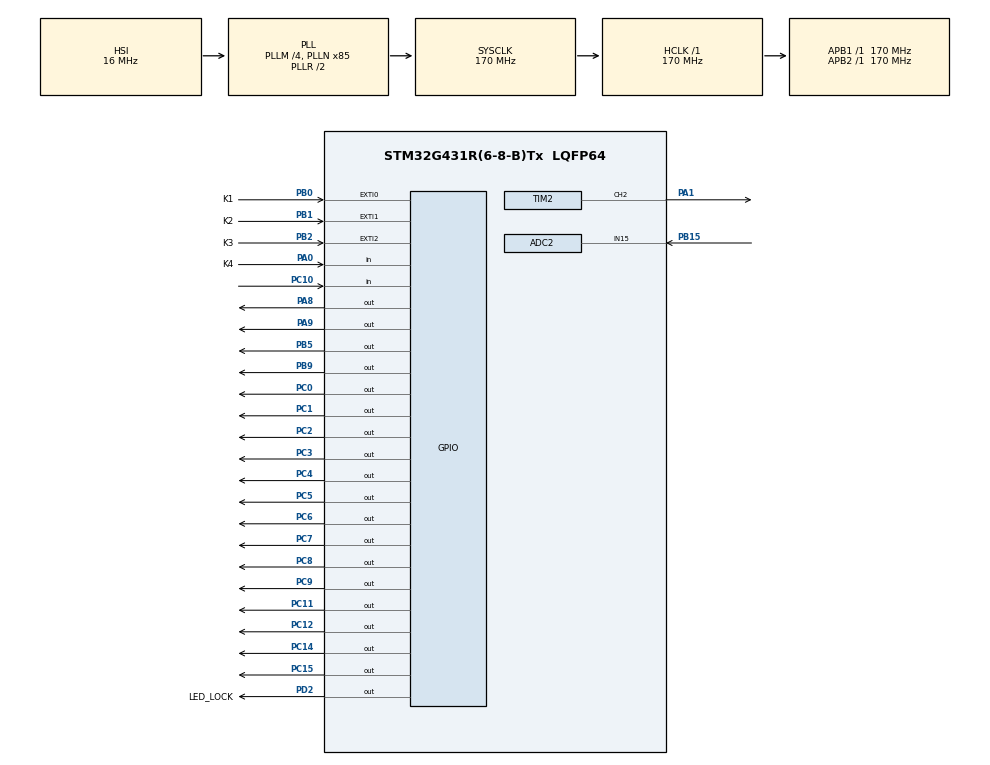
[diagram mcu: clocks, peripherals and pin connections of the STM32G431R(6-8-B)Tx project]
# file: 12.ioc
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ADC2.Channel-0\#ChannelRegularConversion=ADC_CHANNEL_15
ADC2.NbrOfConversionFlag=1
ADC2.OffsetNumber-0\#ChannelRegularConversion=ADC_OFFSET_NONE
ADC2.Rank-0\#ChannelRegularConversion=1
ADC2.SamplingTime-0\#ChannelRegularConversion=ADC_SAMPLETIME_2CYCLES_5
Mcu.Family=STM32G4
Mcu.Name=STM32G431R(6-8-B)Tx
Mcu.Package=LQFP64
NVIC.EXTI0_IRQn=true\:1\:0\:true\:false\:true\:true\:true
NVIC.EXTI1_IRQn=true\:2\:0\:true\:false\:true\:true\:true
NVIC.EXTI2_IRQn=true\:3\:0\:true\:false\:true\:true\:true
NVIC.PriorityGroup=NVIC_PRIORITYGROUP_4
PA0.GPIO_Label=K4
PA0.Signal=GPIO_Input
PA1.Signal=S_TIM2_CH2
PA8.Signal=GPIO_Output
PA9.Signal=GPIO_Output
PB0.GPIO_Label=K1
PB0.Signal=GPXTI0
PB1.GPIO_Label=K2
PB1.Signal=GPXTI1
PB15.Mode=IN15-Single-Ended
PB15.Signal=ADC2_IN15
PB2.GPIO_Label=K3
PB2.Signal=GPXTI2
PB5.Signal=GPIO_Output
PB9.Signal=GPIO_Output
PC0.Signal=GPIO_Output
PC1.Signal=GPIO_Output
PC10.Signal=GPIO_Input
PC11.Signal=GPIO_Output
PC12.Signal=GPIO_Output
PC14-OSC32_IN.Signal=GPIO_Output
PC15-OSC32_OUT.Signal=GPIO_Output
PC2.Signal=GPIO_Output
PC3.Signal=GPIO_Output
PC4.Signal=GPIO_Output
PC5.Signal=GPIO_Output
PC6.Signal=GPIO_Output
PC7.Signal=GPIO_Output
PC8.Signal=GPIO_Output
PC9.Signal=GPIO_Output
PD2.GPIO_Label=LED_LOCK
PD2.Signal=GPIO_Output
PF0-OSC_IN.Mode=HSE-External-Oscillator
PF0-OSC_IN.Signal=RCC_OSC_IN
PF1-OSC_OUT.Mode=HSE-External-Oscillator
PF1-OSC_OUT.Signal=RCC_OSC_OUT
ProjectManager.HeapSize=0x200
ProjectManager.StackSize=0x400
ProjectManager.TargetToolchain=MDK-ARM V5
RCC.ADC12Freq_Value=170000000
RCC.AHBFreq_Value=170000000
RCC.APB1Freq_Value=170000000
RCC.APB1TimFreq_Value=170000000
RCC.APB2Freq_Value=170000000
RCC.APB2TimFreq_Value=170000000
RCC.CortexFreq_Value=170000000
RCC.EXTERNAL_CLOCK_VALUE=12288000
RCC.HCLKFreq_Value=170000000
RCC.HSE_VALUE=8000000
RCC.HSI48_VALUE=48000000
RCC.HSI_VALUE=16000000
RCC.LSE_VALUE=32768
RCC.PLLM=RCC_PLLM_DIV4
RCC.PLLN=85
RCC.SYSCLKFreq_VALUE=170000000
RCC.SYSCLKSource=RCC_SYSCLKSOURCE_PLLCLK
RCC.USBFreq_Value=170000000
RCC.VCOOutputFreq_Value=340000000
SH.S_TIM2_CH2.0=TIM2_CH2,PWM Generation2 CH2
TIM2.AutoReloadPreload=TIM_AUTORELOAD_PRELOAD_ENABLE
TIM2.Channel-PWM\ Generation2\ CH2=TIM_CHANNEL_2
TIM2.PeriodNoDither=9999
TIM2.Prescaler=169
TIM2.PulseNoDither_2=5000
VP_SYS_VS_DBSignals.Mode=DisableDeadBatterySignals
VP_TIM2_VS_ClockSourceINT.Mode=Internal
board=custom

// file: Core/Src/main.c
/* USER CODE BEGIN Header */
/**
  ******************************************************************************
  * @file           : main.c
  * @brief          : Main program body
  ******************************************************************************
  * @attention
  *
  * <h2><center>&copy; Copyright (c) 2021 STMicroelectronics.
  * All rights reserved.</center></h2>
  *
  * This software component is licensed by ST under BSD 3-Clause license,
  * the "License"; You may not use this file except in compliance with the
  * License. You may obtain a copy of the License at:
  *                        opensource.org/licenses/BSD-3-Clause
  *
  ******************************************************************************
  */
/* USER CODE END Header */
#include "main.h"
#include "adc.h"
#include "tim.h"
#include "gpio.h"

/* USER CODE BEGIN PTD */
static char LCD_TEMP[20];
uint8_t KEY_MODE =1;

double Vmax = 3.0;
double Vmin = 1.0;
double SETOK_Vmax =3.0;
double SETOK_Vmin =1.0;
uint8_t VT_MODE = 0; //电压状态

static double  Vlote = 0; //读取电压

static uint8_t VT_MODE_R = 0;

/* USER CODE END PTD */

void SystemClock_Config(void);
/* USER CODE BEGIN PFP */
static double ADC_READ()	//采十次样平均滤波
{
	double adc = 0;
	uint8_t i = 0;
	while(i!=10)
	{
		HAL_ADC_Start(&hadc2);
		adc += (HAL_ADC_GetValue(&hadc2)*3.3)/4096;
		i+=1;
	}
	adc /=10;
	return adc;
}
static void LED_CLEAR()			//LED全关
{
	HAL_GPIO_WritePin(LED_LOCK_GPIO_Port, LED_LOCK_Pin,GPIO_PIN_SET);	//锁存器开
  	HAL_GPIO_WritePin(GPIOC, GPIO_PIN_12|GPIO_PIN_13|GPIO_PIN_11|GPIO_PIN_14|GPIO_PIN_10|GPIO_PIN_15|GPIO_PIN_9|GPIO_PIN_8,GPIO_PIN_SET); //LED全部熄灭
	HAL_GPIO_WritePin(LED_LOCK_GPIO_Port, LED_LOCK_Pin,GPIO_PIN_RESET);//锁存器关
}

static void LCD_LIVE()
{
	if(KEY_MODE == 1)
	{
		LCD_DisplayStringLine(Line1,(uint8_t *)"      Data");
		HAL_TIM_PWM_Start(&htim2,TIM_CHANNEL_2);
		while(KEY_MODE == 1)
		{
			Vlote = ADC_READ();
			if		(	Vlote < SETOK_Vmin)				{	VT_MODE = 2; }
			else if (	Vlote > SETOK_Vmax)				{	VT_MODE = 1; }
			else	{	VT_MODE = 3; }
			if		(VT_MODE_R!=VT_MODE)				{	VT_MODE_R=VT_MODE;}
			if(VT_MODE == 1)
			{
				__HAL_TIM_SetCompare(&htim2, TIM_CHANNEL_2, 5000);
				__HAL_TIM_SetAutoreload(&htim2, 9999);
				HAL_GPIO_WritePin(LED_LOCK_GPIO_Port, LED_LOCK_Pin,GPIO_PIN_SET);	//锁存器开
				HAL_GPIO_WritePin(GPIOC, GPIO_PIN_12|GPIO_PIN_13|GPIO_PIN_11|GPIO_PIN_14|GPIO_PIN_10|GPIO_PIN_15|GPIO_PIN_9,GPIO_PIN_SET); //LED全部熄灭
				HAL_GPIO_WritePin(GPIOC,GPIO_PIN_8,GPIO_PIN_RESET);
				HAL_GPIO_WritePin(LED_LOCK_GPIO_Port, LED_LOCK_Pin,GPIO_PIN_RESET);//锁存器关
			}
			else if(VT_MODE == 2)
			{
				__HAL_TIM_SetCompare(&htim2, TIM_CHANNEL_2, 800);
				__HAL_TIM_SetAutoreload(&htim2, 999);
				HAL_GPIO_WritePin(LED_LOCK_GPIO_Port, LED_LOCK_Pin,GPIO_PIN_SET);	//锁存器开
				HAL_GPIO_WritePin(GPIOC, GPIO_PIN_12|GPIO_PIN_13|GPIO_PIN_11|GPIO_PIN_14|GPIO_PIN_10|GPIO_PIN_15|GPIO_PIN_8,GPIO_PIN_SET); //LED全部熄灭
				HAL_GPIO_WritePin(GPIOC,GPIO_PIN_9,GPIO_PIN_RESET);
				HAL_GPIO_WritePin(LED_LOCK_GPIO_Port, LED_LOCK_Pin,GPIO_PIN_RESET);//锁存器关
			}
			else if(VT_MODE == 3)
			{
				__HAL_TIM_SetCompare(&htim2, TIM_CHANNEL_2, 20);
				__HAL_TIM_SetAutoreload(&htim2,99);
				HAL_GPIO_WritePin(LED_LOCK_GPIO_Port, LED_LOCK_Pin,GPIO_PIN_SET);	//锁存器开
				HAL_GPIO_WritePin(GPIOC, GPIO_PIN_12|GPIO_PIN_13|GPIO_PIN_11|GPIO_PIN_14|GPIO_PIN_9|GPIO_PIN_15|GPIO_PIN_8,GPIO_PIN_SET); //LED全部熄灭
				HAL_GPIO_WritePin(GPIOC,GPIO_PIN_10,GPIO_PIN_RESET);
				HAL_GPIO_WritePin(LED_LOCK_GPIO_Port, LED_LOCK_Pin,GPIO_PIN_RESET);//锁存器关

			}
			sprintf(LCD_TEMP," V:%.2lfV    ",Vlote);
			LCD_DisplayStringLine(Line3,(uint8_t *)LCD_TEMP);
			sprintf(LCD_TEMP," A:%d        ",VT_MODE);
			LCD_DisplayStringLine(Line4,(uint8_t *)LCD_TEMP);
		}
	}
	else
	{
		LCD_DisplayStringLine(Line1,(uint8_t *)"      Para");
		HAL_TIM_PWM_Stop(&htim2,TIM_CHANNEL_2);
		LED_CLEAR();
		while(KEY_MODE == 2)
		{
			sprintf(LCD_TEMP," Vmax:%.1lfV   ",Vmax);
			LCD_DisplayStringLine(Line3,(uint8_t *)LCD_TEMP);
			sprintf(LCD_TEMP," Vmin:%.1lfV   ",Vmin);
			LCD_DisplayStringLine(Line4,(uint8_t *)LCD_TEMP);
		}

	}

}

/* USER CODE END PFP */

int main(void)
{

  /* MCU Configuration--------------------------------------------------------*/

  /* Reset of all peripherals, Initializes the Flash interface and the Systick. */
  HAL_Init();

  /* Configure the system clock */
  SystemClock_Config();

  /* Initialize all configured peripherals */
  MX_GPIO_Init();
  MX_ADC2_Init();
  MX_TIM2_Init();
  /* USER CODE BEGIN 2 */
  LED_CLEAR();
  LCD_Init();
  LCD_Clear(Black);
  LCD_SetBackColor(Black);
  LCD_SetTextColor(White);

  /* USER CODE END 2 */

  /* Infinite loop */
  /* USER CODE BEGIN WHILE */
  while (1)
  {
	  LCD_LIVE();
    /* USER CODE END WHILE */

  }
}

void SystemClock_Config(void)
{
  RCC_OscInitTypeDef RCC_OscInitStruct = {0};
  RCC_ClkInitTypeDef RCC_ClkInitStruct = {0};
  RCC_PeriphCLKInitTypeDef PeriphClkInit = {0};

  /** Configure the main internal regulator output voltage
  */
  HAL_PWREx_ControlVoltageScaling(PWR_REGULATOR_VOLTAGE_SCALE1_BOOST);
  /** Initializes the RCC Oscillators according to the specified parameters
  * in the RCC_OscInitTypeDef structure.
  */
  RCC_OscInitStruct.OscillatorType = RCC_OSCILLATORTYPE_HSI;
  RCC_OscInitStruct.HSIState = RCC_HSI_ON;
  RCC_OscInitStruct.HSICalibrationValue = RCC_HSICALIBRATION_DEFAULT;
  RCC_OscInitStruct.PLL.PLLState = RCC_PLL_ON;
  RCC_OscInitStruct.PLL.PLLSource = RCC_PLLSOURCE_HSI;
  RCC_OscInitStruct.PLL.PLLM = RCC_PLLM_DIV4;
  RCC_OscInitStruct.PLL.PLLN = 85;
  RCC_OscInitStruct.PLL.PLLP = RCC_PLLP_DIV2;
  RCC_OscInitStruct.PLL.PLLQ = RCC_PLLQ_DIV2;
  RCC_OscInitStruct.PLL.PLLR = RCC_PLLR_DIV2;
  if (HAL_RCC_OscConfig(&RCC_OscInitStruct) != HAL_OK)
  {
    Error_Handler();
  }
  /** Initializes the CPU, AHB and APB buses clocks
  */
  RCC_ClkInitStruct.ClockType = RCC_CLOCKTYPE_HCLK|RCC_CLOCKTYPE_SYSCLK
                              |RCC_CLOCKTYPE_PCLK1|RCC_CLOCKTYPE_PCLK2;
  RCC_ClkInitStruct.SYSCLKSource = RCC_SYSCLKSOURCE_PLLCLK;
  RCC_ClkInitStruct.AHBCLKDivider = RCC_SYSCLK_DIV1;
  RCC_ClkInitStruct.APB1CLKDivider = RCC_HCLK_DIV1;
  RCC_ClkInitStruct.APB2CLKDivider = RCC_HCLK_DIV1;

  if (HAL_RCC_ClockConfig(&RCC_ClkInitStruct, FLASH_LATENCY_4) != HAL_OK)
  {
    Error_Handler();
  }
  /** Initializes the peripherals clocks
  */
  PeriphClkInit.PeriphClockSelection = RCC_PERIPHCLK_ADC12;
  PeriphClkInit.Adc12ClockSelection = RCC_ADC12CLKSOURCE_SYSCLK;
  if (HAL_RCCEx_PeriphCLKConfig(&PeriphClkInit) != HAL_OK)
  {
    Error_Handler();
  }
}

void Error_Handler(void)
{
  __disable_irq();
  while (1)
  {
  }
}

/************************ (C) COPYRIGHT STMicroelectronics *****END OF FILE****/
